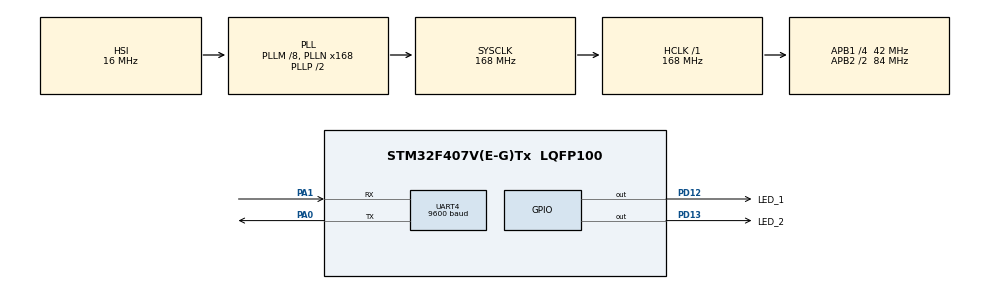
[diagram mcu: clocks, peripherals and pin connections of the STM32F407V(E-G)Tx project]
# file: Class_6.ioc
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Mcu.Family=STM32F4
Mcu.Name=STM32F407V(E-G)Tx
Mcu.Package=LQFP100
NVIC.PriorityGroup=NVIC_PRIORITYGROUP_4
NVIC.UART4_IRQn=true\:0\:0\:false\:false\:true\:true\:true
PA0-WKUP.Mode=Asynchronous
PA0-WKUP.Signal=UART4_TX
PA1.Mode=Asynchronous
PA1.Signal=UART4_RX
PA13.Mode=Serial_Wire
PA13.Signal=SYS_JTMS-SWDIO
PA14.Mode=Serial_Wire
PA14.Signal=SYS_JTCK-SWCLK
PD12.GPIO_Label=LED_1
PD12.Signal=GPIO_Output
PD13.GPIO_Label=LED_2
PD13.Signal=GPIO_Output
PH0-OSC_IN.Mode=HSE-External-Oscillator
PH0-OSC_IN.Signal=RCC_OSC_IN
PH1-OSC_OUT.Mode=HSE-External-Oscillator
PH1-OSC_OUT.Signal=RCC_OSC_OUT
ProjectManager.HeapSize=0x200
ProjectManager.StackSize=0x400
ProjectManager.TargetToolchain=STM32CubeIDE
RCC.48MHZClocksFreq_Value=84000000
RCC.AHBFreq_Value=168000000
RCC.APB1CLKDivider=RCC_HCLK_DIV4
RCC.APB1Freq_Value=42000000
RCC.APB1TimFreq_Value=84000000
RCC.APB2CLKDivider=RCC_HCLK_DIV2
RCC.APB2Freq_Value=84000000
RCC.APB2TimFreq_Value=168000000
RCC.CortexFreq_Value=168000000
RCC.HCLKFreq_Value=168000000
RCC.HSE_VALUE=8000000
RCC.HSI_VALUE=16000000
RCC.LSE_VALUE=32768
RCC.PLLM=8
RCC.PLLN=168
RCC.SYSCLKFreq_VALUE=168000000
RCC.SYSCLKSource=RCC_SYSCLKSOURCE_PLLCLK
RCC.VCOOutputFreq_Value=336000000
UART4.BaudRate=9600
UART4.VirtualMode=Asynchronous
board=custom

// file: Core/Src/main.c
/* USER CODE BEGIN Header */
/**
  ******************************************************************************
  * @file           : main.c
  * @brief          : Main program body
  ******************************************************************************
  * @attention
  *
  * Copyright (c) 2023 STMicroelectronics.
  * All rights reserved.
  *
  * This software is licensed under terms that can be found in the LICENSE file
  * in the root directory of this software component.
  * If no LICENSE file comes with this software, it is provided AS-IS.
  *
  ******************************************************************************
  */
/* USER CODE END Header */
#include "main.h"

/* USER CODE BEGIN Includes */
#include "string.h"
#include "stdlib.h"
#include "ctype.h"
/* USER CODE END Includes */

UART_HandleTypeDef huart4;

void SystemClock_Config(void);
static void MX_GPIO_Init(void);
static void MX_UART4_Init(void);

/* USER CODE BEGIN 0 */
char RxBuffer[3];
int delay=1000;
int a=0;
int i=0;
int count=0;
void HAL_UART_RxCpltCallback(UART_HandleTypeDef *huart)
{
  /* Prevent unused argument(s) compilation warning */
  //HAL_GPIO_TogglePin(LED_2_GPIO_Port, LED_2_Pin);
	HAL_UART_Transmit(&huart4, (uint8_t *) "Received: ", 10, 1000);
	HAL_UART_Transmit(&huart4, (uint8_t *) RxBuffer, sizeof(RxBuffer), 1000);
	if(strcmp(RxBuffer," on")==0){
	  HAL_GPIO_WritePin(LED_2_GPIO_Port, LED_2_Pin,1);

		HAL_UART_Transmit(&huart4, (uint8_t *) "\r\nLED High\r\n", 12, 1000);
  }
  else if(strcmp(RxBuffer,"off")==0){
	  HAL_GPIO_WritePin(LED_2_GPIO_Port, LED_2_Pin,0);

		HAL_UART_Transmit(&huart4, (uint8_t *) "\r\nLED Low\r\n", 11, 1000);
  }
  else
  {
	  for(i=0;i<sizeof(RxBuffer);i++){
		  if( isdigit(RxBuffer[i]))
		  {
			 count++;

		  }
		  else if(!(RxBuffer[i]==' ')){
			  a=1;
		  }

	  }
	  if(count>=2 && a==0 ){
		  delay=atoi(RxBuffer);
	  }
		HAL_UART_Transmit(&huart4, (uint8_t *) "\r\n", 2, 1000);
		count=0;
		a=0;
  }

  HAL_UART_Receive_IT(&huart4, (uint8_t *) RxBuffer, sizeof(RxBuffer));
  /* NOTE: This function should not be modified, when the callback is needed,
           the HAL_UART_RxCpltCallback could be implemented in the user file
   */
}

/* USER CODE END 0 */

int main(void)
{

  /* MCU Configuration--------------------------------------------------------*/

  /* Reset of all peripherals, Initializes the Flash interface and the Systick. */
  HAL_Init();

  /* Configure the system clock */
  SystemClock_Config();

  /* Initialize all configured peripherals */
  MX_GPIO_Init();
  MX_UART4_Init();
  /* USER CODE BEGIN 2 */
  HAL_UART_Receive_IT(&huart4, (uint8_t *) RxBuffer, sizeof(RxBuffer));

  /* USER CODE END 2 */

  /* Infinite loop */
  while (1)
  {

    /* USER CODE BEGIN 3 */
	  HAL_GPIO_WritePin(LED_1_GPIO_Port, LED_1_Pin, 1);
	  HAL_Delay(delay);
	  HAL_GPIO_WritePin(LED_1_GPIO_Port, LED_1_Pin, 0);
	  HAL_Delay(delay);
  }
  /* USER CODE END 3 */
}

void SystemClock_Config(void)
{
  RCC_OscInitTypeDef RCC_OscInitStruct = {0};
  RCC_ClkInitTypeDef RCC_ClkInitStruct = {0};

  /** Configure the main internal regulator output voltage
  */
  __HAL_RCC_PWR_CLK_ENABLE();
  __HAL_PWR_VOLTAGESCALING_CONFIG(PWR_REGULATOR_VOLTAGE_SCALE1);
  /** Initializes the RCC Oscillators according to the specified parameters
  * in the RCC_OscInitTypeDef structure.
  */
  RCC_OscInitStruct.OscillatorType = RCC_OSCILLATORTYPE_HSI;
  RCC_OscInitStruct.HSIState = RCC_HSI_ON;
  RCC_OscInitStruct.HSICalibrationValue = RCC_HSICALIBRATION_DEFAULT;
  RCC_OscInitStruct.PLL.PLLState = RCC_PLL_ON;
  RCC_OscInitStruct.PLL.PLLSource = RCC_PLLSOURCE_HSI;
  RCC_OscInitStruct.PLL.PLLM = 8;
  RCC_OscInitStruct.PLL.PLLN = 168;
  RCC_OscInitStruct.PLL.PLLP = RCC_PLLP_DIV2;
  RCC_OscInitStruct.PLL.PLLQ = 4;
  if (HAL_RCC_OscConfig(&RCC_OscInitStruct) != HAL_OK)
  {
    Error_Handler();
  }
  /** Initializes the CPU, AHB and APB buses clocks
  */
  RCC_ClkInitStruct.ClockType = RCC_CLOCKTYPE_HCLK|RCC_CLOCKTYPE_SYSCLK
                              |RCC_CLOCKTYPE_PCLK1|RCC_CLOCKTYPE_PCLK2;
  RCC_ClkInitStruct.SYSCLKSource = RCC_SYSCLKSOURCE_PLLCLK;
  RCC_ClkInitStruct.AHBCLKDivider = RCC_SYSCLK_DIV1;
  RCC_ClkInitStruct.APB1CLKDivider = RCC_HCLK_DIV4;
  RCC_ClkInitStruct.APB2CLKDivider = RCC_HCLK_DIV2;

  if (HAL_RCC_ClockConfig(&RCC_ClkInitStruct, FLASH_LATENCY_5) != HAL_OK)
  {
    Error_Handler();
  }
}

static void MX_UART4_Init(void)
{

  huart4.Instance = UART4;
  huart4.Init.BaudRate = 9600;
  huart4.Init.WordLength = UART_WORDLENGTH_8B;
  huart4.Init.StopBits = UART_STOPBITS_1;
  huart4.Init.Parity = UART_PARITY_NONE;
  huart4.Init.Mode = UART_MODE_TX_RX;
  huart4.Init.HwFlowCtl = UART_HWCONTROL_NONE;
  huart4.Init.OverSampling = UART_OVERSAMPLING_16;
  if (HAL_UART_Init(&huart4) != HAL_OK)
  {
    Error_Handler();
  }

}

static void MX_GPIO_Init(void)
{
  GPIO_InitTypeDef GPIO_InitStruct = {0};

  /* GPIO Ports Clock Enable */
  __HAL_RCC_GPIOH_CLK_ENABLE();
  __HAL_RCC_GPIOA_CLK_ENABLE();
  __HAL_RCC_GPIOD_CLK_ENABLE();

  /*Configure GPIO pin Output Level */
  HAL_GPIO_WritePin(GPIOD, LED_1_Pin|LED_2_Pin, GPIO_PIN_RESET);

  /*Configure GPIO pins : LED_1_Pin LED_2_Pin */
  GPIO_InitStruct.Pin = LED_1_Pin|LED_2_Pin;
  GPIO_InitStruct.Mode = GPIO_MODE_OUTPUT_PP;
  GPIO_InitStruct.Pull = GPIO_NOPULL;
  GPIO_InitStruct.Speed = GPIO_SPEED_FREQ_LOW;
  HAL_GPIO_Init(GPIOD, &GPIO_InitStruct);

}

void Error_Handler(void)
{
  __disable_irq();
  while (1)
  {
  }
}
